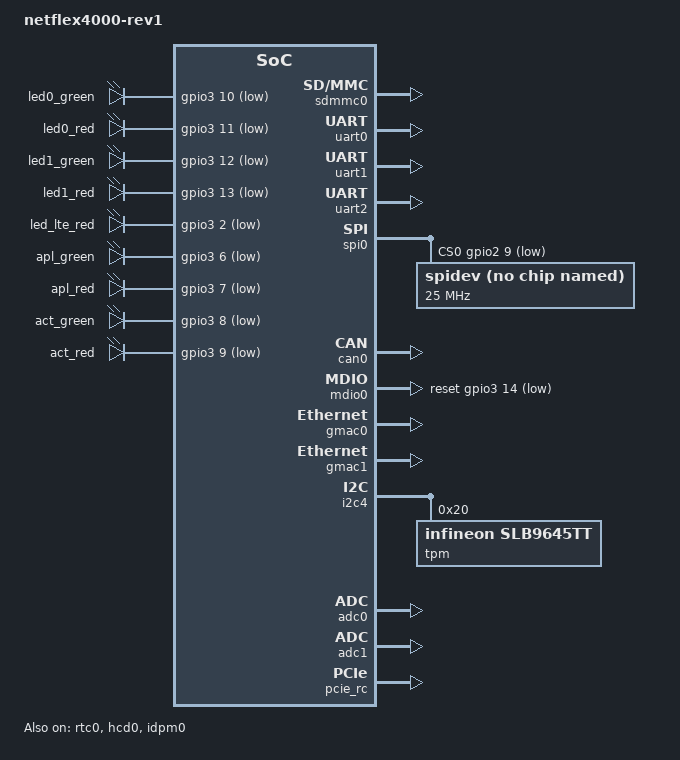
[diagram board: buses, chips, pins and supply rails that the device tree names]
/*
* (C) Copyright 2018 Hilscher Gesellschaft fuer Systemautomation mbH
* http://www.hilscher.com
*
* This program is free software; you can redistribute it and/or
* modify it under the terms of the GNU General Public License as
* published by the Free Software Foundation; version 2 of
* the License.
*
* This program is distributed in the hope that it will be useful,
* but WITHOUT ANY WARRANTY; without even the implied warranty of
* MERCHANTABILITY or FITNESS FOR A PARTICULAR PURPOSE. See the
* GNU General Public License for more details.
*/

/dts-v1/;

#include "netx4000-common.dtsi"

/ {
	model = "netflex4000-rev1";
	compatible = "hilscher,netx4000";

	chosen {
		linux,stdout-path = &uart0;
	};

	memory {
		device_type = "memory";
		reg = <0x0 0x0>; /* will be filled by bootloader */
	};

	leds {
		compatible = "gpio-leds";
		led0_green {
			gpios = <&gpio3 10 GPIO_ACTIVE_LOW>;
			linux,default-trigger = "none";
			default-state = "off";
		};
		led0_red {
			gpios = <&gpio3 11 GPIO_ACTIVE_LOW>;
			linux,default-trigger = "none";
			default-state = "off";
		};
		led1_green {
			gpios = <&gpio3 12 GPIO_ACTIVE_LOW>;
			linux,default-trigger = "none";
			default-state = "off";
		};
		led1_red {
			gpios = <&gpio3 13 GPIO_ACTIVE_LOW>;
			linux,default-trigger = "none";
			default-state = "off";
		};
		led_lte_red {
			gpios = <&gpio3 2 GPIO_ACTIVE_LOW>;
			linux,default-trigger = "none";
			default-state = "off";
		};
		apl_green {
			gpios = <&gpio3 6 GPIO_ACTIVE_LOW>;
			linux,default-trigger = "none";
			default-state = "off";
		};
		apl_red {
			gpios = <&gpio3 7 GPIO_ACTIVE_LOW>;
			linux,default-trigger = "none";
			default-state = "off";
		};
		act_green {
			gpios = <&gpio3 8 GPIO_ACTIVE_LOW>;
			linux,default-trigger = "heartbeat";
			default-state = "off";
		};
		act_red {
			gpios = <&gpio3 9 GPIO_ACTIVE_LOW>;
			linux,default-trigger = "none";
			default-state = "off";
			panic-indicator;
		};
	};
};

/* Static platform gpio pins */
&pinctrl {
	pinctrl-single,gpio-range0 = <
//		MUX_PIN(5,9)  (REEMUX_1 | REEMUX_DRV_08MA | REEMUX_UDC_PULLUP50K) // mmio41 / gpio2.9  / nSPI0_CS
		&range (MUX_PIN(5,9)/4) 1 (REEMUX_1 | REEMUX_DRV_08MA | REEMUX_UDC_PULLUP50K)

//		MUX_PIN(12,0)  (REEMUX_1 | REEMUX_DRV_08MA | REEMUX_UDC_NONE)        // no mmio / gpio3.0  / LTE_RESET
//		MUX_PIN(12,1)  (REEMUX_1 | REEMUX_DRV_08MA | REEMUX_UDC_NONE)        // no mmio / gpio3.1  / LTE_FLIGHT_MODE
//		MUX_PIN(12,2)  (REEMUX_1 | REEMUX_DRV_08MA | REEMUX_UDC_NONE)        // no mmio / gpio3.2  / LTE_LED_RED
//		MUX_PIN(12,3)  (REEMUX_1 | REEMUX_DRV_08MA | REEMUX_UDC_NONE)        // no mmio / gpio3.3  / IN0
//		MUX_PIN(12,4)  (REEMUX_1 | REEMUX_DRV_08MA | REEMUX_UDC_NONE)        // no mmio / gpio3.4  / IN1
//		MUX_PIN(12,5)  (REEMUX_1 | REEMUX_DRV_08MA | REEMUX_UDC_NONE)        // no mmio / gpio3.5  / OUT
//		MUX_PIN(12,6)  (REEMUX_1 | REEMUX_DRV_08MA | REEMUX_UDC_NONE)        // no mmio / gpio3.6  / GBIT_APL_GREEN
//		MUX_PIN(12,7)  (REEMUX_1 | REEMUX_DRV_08MA | REEMUX_UDC_NONE)        // no mmio / gpio3.7  / GBIT_APL_RED
//		MUX_PIN(12,8)  (REEMUX_1 | REEMUX_DRV_08MA | REEMUX_UDC_NONE)        // no mmio / gpio3.8  / GBIT_ACT_GREEN
//		MUX_PIN(12,9)  (REEMUX_1 | REEMUX_DRV_08MA | REEMUX_UDC_NONE)        // no mmio / gpio3.9  / GBIT_ACT_RED
//		MUX_PIN(12,10) (REEMUX_1 | REEMUX_DRV_08MA | REEMUX_UDC_NONE)        // no mmio / gpio3.10 / LED0_GREEN
//		MUX_PIN(12,11) (REEMUX_1 | REEMUX_DRV_08MA | REEMUX_UDC_NONE)        // no mmio / gpio3.11 / LED0_RED
//		MUX_PIN(12,12) (REEMUX_1 | REEMUX_DRV_08MA | REEMUX_UDC_NONE)        // no mmio / gpio3.12 / LED1_GREEN
//		MUX_PIN(12,13) (REEMUX_1 | REEMUX_DRV_08MA | REEMUX_UDC_NONE)        // no mmio / gpio3.13 / LED1_RED
//		MUX_PIN(12,14) (REEMUX_1 | REEMUX_DRV_08MA | REEMUX_UDC_NONE)        // no mmio / gpio3.14 / nGBIT_RESET
//		MUX_PIN(12,15) (REEMUX_1 | REEMUX_DRV_08MA | REEMUX_UDC_NONE)        // no mmio / gpio3.15 / ESP32_EN
//		MUX_PIN(13,0)  (REEMUX_1 | REEMUX_DRV_08MA | REEMUX_UDC_NONE)        // no mmio / gpio3.16 / ESP32_GPIO0
//		MUX_PIN(13,5)  (REEMUX_1 | REEMUX_DRV_08MA | REEMUX_UDC_NONE)        // no mmio / gpio3.21 / nTPM_INT
//		MUX_PIN(13,6)  (REEMUX_1 | REEMUX_DRV_08MA | REEMUX_UDC_NONE)        // no mmio / gpio3.22 / nUART2_RTS
		&range (MUX_PIN(12,0)/4) 16 (REEMUX_1 | REEMUX_DRV_08MA | REEMUX_UDC_NONE)
		&range (MUX_PIN(13,0)/4) 1  (REEMUX_1 | REEMUX_DRV_08MA | REEMUX_UDC_NONE)
		&range (MUX_PIN(13,5)/4) 2  (REEMUX_1 | REEMUX_DRV_08MA | REEMUX_UDC_NONE)
	>;
};

&gpio3 {
	gpio-line-names = "LTE_RESET",
			  "LTE_FLIGHT_MODE",
			  "LTE_LED_RED",
			  "IN0",
			  "IN1",
			  "OUT",
			  "GBIT_APL_GREEN",
			  "GBIT_APL_RED",
			  "GBIT_ACT_GREEN",
			  "GBIT_ACT_RED",
			  "LED0_GREEN",
			  "LED0_RED",
			  "LED1_GREEN",
			  "LED1_RED",
			  "nGBIT_RESET",
			  "ESP32_EN",
			  "ESP32_GPIO0",
			  "N/C",
			  "N/C",
			  "N/C",
			  "N/C",
			  "nTPM_INT",
			  "nUART2_RTS",
			  "N/C",
			  "N/C",
			  "N/C",
			  "N/C",
			  "N/C",
			  "N/C",
			  "N/C",
			  "N/C",
			  "N/C";
};

&sdmmc0 {
	status = "ok";
};

&rtc0 {
	status = "ok";
};

/* Serial console */
&uart0 {
	status = "ok";
	pinctrl-names = "default";
	pinctrl-0 = <&uart0_pins>;
};

/* ESP32 Bluetooth */
&uart1 {
	status = "ok";
	pinctrl-names = "default";
	pinctrl-0 = <&uart1_pins>;
};

&uart2 {
	status = "ok";
	pinctrl-names = "default";
	pinctrl-0 = <&uart2_pins_noflow>;
	rs485-txen-gpio = <&gpio3 22 GPIO_ACTIVE_LOW>;
};

/* ESP32 WiFi (SPI) */
&spi0 {
	status = "ok";
	num-cs = <1>;
	cs-gpios = <&gpio2 9 GPIO_ACTIVE_LOW>;
	#address-cells = <1>;
	#size-cells = <0>;
	spidev@0 {
		compatible = "spidev";
		reg = <0x0>;
		spi-max-frequency = <25000000>;
	};
};

&can0 {
	status = "ok";
	channels = <0>;
	pinctrl-names = "default";
	pinctrl-0 = <&can0_0_pins>;
};

&hcd0 {
	status = "ok";
	num-ports = <2>;
	pinctrl-names = "default";
	pinctrl-0 = <&hcd0_0_pins &hcd0_1_pins>;
};

&mdio0 {
	status = "ok";
	reset-gpio = <&gpio3 14 GPIO_ACTIVE_LOW>;
};

&gmac0 {
	status = "ok";
};

&gmac1 {
	status = "ok";
};

&i2c4 {
	status = "ok";

	tpm@20 {
		compatible = "infineon,slb9645tt";
		reg = <0x20>;
        };
};

&idpm0 {
	status = "ok";
};

&adc0 {
	status = "ok";
};

&adc1 {
	status = "ok";
};

&pcie_rc {
	status = "ok";
	max-link-speed = <1>;
};
